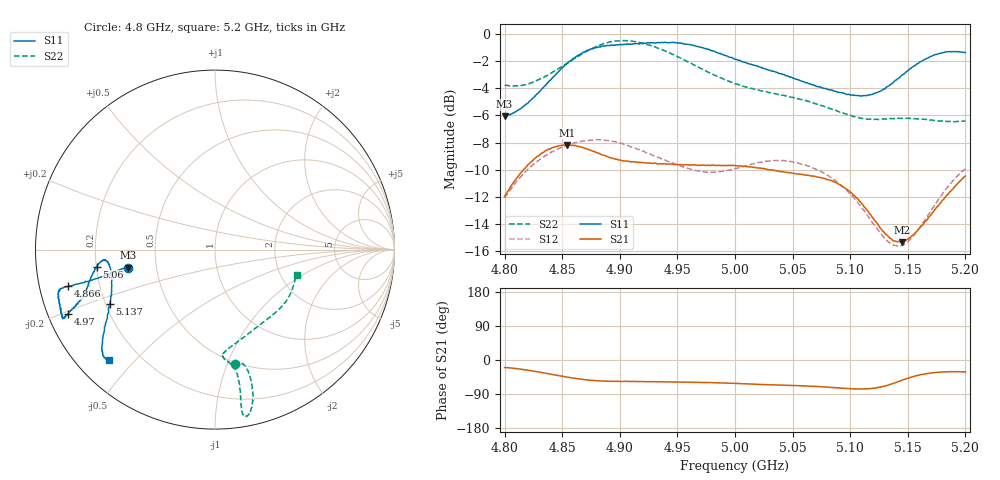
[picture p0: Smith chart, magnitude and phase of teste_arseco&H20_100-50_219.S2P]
! Network Analyzer HP8722D
! Hewlett-Packard
! Data name: Linha & Wilkinson
! Saver's name: Rodrigo Anjos
! Comments: Teste da utilização de aquisição
! continua pelo VNA HP8722D
! Time and date: 6/5/2025 14:23
!  Frequency  S11  S21  S12  S22
# HZ  S  MA R 50
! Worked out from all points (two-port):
!   401 points, 4.8 GHz to 5.2 GHz, reference 50 ohm
!   highest |S21| = -8.17 dB at 4.854 GHz (marker M1); lowest = -15.3 dB at 5.145 GHz (marker M2)
!   |S21| within 3 dB of the highest: 4.806 GHz to 5.092 GHz (286.6 MHz wide, 5.79 % of centre); 5.191464 GHz to end of sweep
!   lowest |S11| = -6.1 dB at 4.8 GHz (marker M3), VSWR 2.98, Z = 17 - j4.55 ohm
!   |S11| at or under -10 dB: nowhere
!   |S22| runs from -6.5 to -0.5 dB; largest |S21 - S12| = 0.62
!   S11 on the Smith chart (normalised r, x): 4.8 GHz: 0.34, -0.09; 4.866 GHz: 0.09, -0.12; 4.97 GHz: 0.06, -0.21; 5.06 GHz: 0.20, -0.07; 5.137 GHz: 0.22, -0.23; 5.2 GHz: 0.09, -0.42
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4.8e9  0.497 -168.3  0.2527 -19.8  0.249 -140.9  0.6476 -80.3
4.828e9  0.6014 -167.1  0.3536 -30.8  0.3387 -145.0  0.6747 -75.4
4.854e9  0.7764 -165.9  0.3905 -45.1  0.3887 -150.0  0.7791 -74.7
4.866e9  0.8434 -166.0  0.3839 -50.4  0.4017 -152.0  0.8383 -75.3
4.867e9  0.8487 -165.9  0.3833 -50.9  0.4031 -152.1  0.8437 -75.4
4.879e9  0.8922 -165.7  0.3671 -54.5  0.4075 -154.2  0.8957 -76.7
4.9e9  0.914 -162.8  0.3433 -56.4  0.3964 -156.7  0.9429 -79.1
4.934e9  0.9305 -156.5  0.3327 -57.6  0.3512 -155.7  0.8828 -80.5
4.947e9  0.9316 -155.5  0.3311 -57.9  0.3338 -153.5  0.8374 -80.1
4.97e9  0.8925 -156.4  0.3294 -59.3  0.3122 -147.0  0.7467 -79.7
5e9  0.8079 -159.1  0.3276 -61.8  0.3197 -137.3  0.6558 -81.2
5.036e9  0.7224 -165.7  0.3137 -66.0  0.3425 -134.6  0.601 -85.7
5.06e9  0.6662 -171.9  0.3028 -68.2  0.3302 -136.2  0.5701 -84.3
5.067e9  0.6513 -173.1  0.3002 -69.2  0.3221 -136.9  0.5583 -82.6
5.082e9  0.6223 -174.6  0.2902 -71.9  0.2988 -138.4  0.5318 -77.2
5.099e9  0.5995 -172.7  0.2643 -75.4  0.26 -138.9  0.5026 -67.9
5.116e9  0.5957 -165.5  0.221 -75.9  0.2123 -135.6  0.4852 -55.6
5.134e9  0.6455 -154.3  0.1781 -65.1  0.1704 -120.7  0.4873 -43.2
5.137e9  0.6605 -152.5  0.1737 -62.1  0.1678 -116.7  0.4881 -41.5
5.145e9  0.7047 -148.2  0.1715 -53.2  0.1672 -106.2  0.4892 -36.9
5.173e9  0.8372 -139.0  0.2241 -33.3  0.2338 -80.8  0.4802 -24.3
5.2e9  0.8539 -133.7  0.2999 -31.5  0.3191 -77.0  0.478 -17.6
